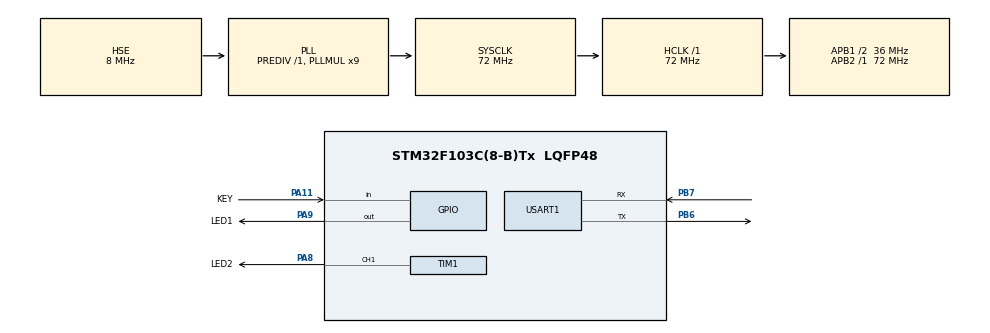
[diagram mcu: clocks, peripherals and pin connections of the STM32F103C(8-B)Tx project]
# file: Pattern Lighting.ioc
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Dma.Request0=USART1_RX
Dma.Request1=USART1_TX
Dma.USART1_RX.0.Direction=DMA_PERIPH_TO_MEMORY
Dma.USART1_RX.0.Instance=DMA1_Channel5
Dma.USART1_RX.0.MemDataAlignment=DMA_MDATAALIGN_BYTE
Dma.USART1_RX.0.MemInc=DMA_MINC_ENABLE
Dma.USART1_RX.0.Mode=DMA_CIRCULAR
Dma.USART1_RX.0.PeriphDataAlignment=DMA_PDATAALIGN_BYTE
Dma.USART1_RX.0.PeriphInc=DMA_PINC_DISABLE
Dma.USART1_RX.0.Priority=DMA_PRIORITY_LOW
Dma.USART1_TX.1.Direction=DMA_MEMORY_TO_PERIPH
Dma.USART1_TX.1.Instance=DMA1_Channel4
Dma.USART1_TX.1.MemDataAlignment=DMA_MDATAALIGN_BYTE
Dma.USART1_TX.1.MemInc=DMA_MINC_ENABLE
Dma.USART1_TX.1.Mode=DMA_NORMAL
Dma.USART1_TX.1.PeriphDataAlignment=DMA_PDATAALIGN_BYTE
Dma.USART1_TX.1.PeriphInc=DMA_PINC_DISABLE
Dma.USART1_TX.1.Priority=DMA_PRIORITY_LOW
Mcu.Family=STM32F1
Mcu.Name=STM32F103C(8-B)Tx
Mcu.Package=LQFP48
NVIC.DMA1_Channel4_IRQn=true\:0\:0\:false\:false\:true\:false\:true\:true
NVIC.DMA1_Channel5_IRQn=true\:0\:0\:false\:false\:true\:false\:true\:true
NVIC.PriorityGroup=NVIC_PRIORITYGROUP_4
NVIC.USART1_IRQn=true\:0\:0\:false\:false\:true\:true\:true\:true
PA11.GPIO_Label=KEY
PA11.GPIO_PuPd=GPIO_PULLDOWN
PA11.Signal=GPIO_Input
PA13.Mode=Serial_Wire
PA13.Signal=SYS_JTMS-SWDIO
PA14.Mode=Serial_Wire
PA14.Signal=SYS_JTCK-SWCLK
PA8.GPIO_Label=LED2
PA8.Signal=S_TIM1_CH1
PA9.GPIO_Label=LED1
PA9.Signal=GPIO_Output
PB6.Mode=Asynchronous
PB6.Signal=USART1_TX
PB7.Mode=Asynchronous
PB7.Signal=USART1_RX
PD0-OSC_IN.Mode=HSE-External-Oscillator
PD0-OSC_IN.Signal=RCC_OSC_IN
PD1-OSC_OUT.Mode=HSE-External-Oscillator
PD1-OSC_OUT.Signal=RCC_OSC_OUT
ProjectManager.HeapSize=0x200
ProjectManager.StackSize=0x400
ProjectManager.TargetToolchain=MDK-ARM V5.32
RCC.AHBFreq_Value=72000000
RCC.APB1CLKDivider=RCC_HCLK_DIV2
RCC.APB1Freq_Value=36000000
RCC.APB1TimFreq_Value=72000000
RCC.APB2Freq_Value=72000000
RCC.APB2TimFreq_Value=72000000
RCC.HCLKFreq_Value=72000000
RCC.PLLMUL=RCC_PLL_MUL9
RCC.PLLSourceVirtual=RCC_PLLSOURCE_HSE
RCC.SYSCLKFreq_VALUE=72000000
RCC.SYSCLKSource=RCC_SYSCLKSOURCE_PLLCLK
RCC.USBFreq_Value=72000000
SH.S_TIM1_CH1.0=TIM1_CH1,PWM Generation1 CH1
TIM1.Channel-PWM\ Generation1\ CH1=TIM_CHANNEL_1
TIM1.Period=500-1
TIM1.Prescaler=72-1
USART1.VirtualMode=VM_ASYNC
board=custom

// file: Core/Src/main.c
/* USER CODE BEGIN Header */
/**
  ******************************************************************************
  * @file           : main.c
  * @brief          : Main program body
  ******************************************************************************
  * @attention
  *
  * Copyright (c) 2026 STMicroelectronics.
  * All rights reserved.
  *
  * This software is licensed under terms that can be found in the LICENSE file
  * in the root directory of this software component.
  * If no LICENSE file comes with this software, it is provided AS-IS.
  *
  ******************************************************************************
  */
/* USER CODE END Header */
#include "main.h"
#include "dma.h"
#include "tim.h"
#include "usart.h"
#include "gpio.h"

/* USER CODE BEGIN Includes */
#include "ex_message.h"
#include "time_slice.h"

/* USER CODE END Includes */

/* USER CODE BEGIN PV */
uint8_t system_flag = 0;
/* USER CODE END PV */

void SystemClock_Config(void);

int main(void)
{

  /* USER CODE BEGIN 1 */
  time_slice Breathing_light_time_slice;
  time_slice Key_time_slice;
  time_slice LED1_toggle_time_slice;
  time_slice Rx_UART_time_slice;

  /* USER CODE END 1 */

  /* MCU Configuration--------------------------------------------------------*/

  /* Reset of all peripherals, Initializes the Flash interface and the Systick. */
  HAL_Init();

  /* Configure the system clock */
  SystemClock_Config();

  /* Initialize all configured peripherals */
  MX_GPIO_Init();
  MX_DMA_Init();
  MX_USART1_UART_Init();
  MX_TIM1_Init();
  /* USER CODE BEGIN 2 */
  time_slice_Init(&Breathing_light_time_slice, 1, Breathing_light);
  time_slice_Init(&Key_time_slice, 20, KEY_callback);
  time_slice_Init(&LED1_toggle_time_slice, 50, LED1_toggle);
  time_slice_Init(&Rx_UART_time_slice, 10, Rx_UART_callback);
  HAL_UARTEx_ReceiveToIdle_DMA(&huart1, rx_buf, sizeof(rx_buf));
  HAL_TIM_PWM_Start(&htim1, TIM_CHANNEL_1);
  /* USER CODE END 2 */

  /* Infinite loop */
  /* USER CODE BEGIN WHILE */
  while (1)
  {
    time_slice_run(&Rx_UART_time_slice);
    time_slice_run(&Key_time_slice);
    time_slice_run(&Breathing_light_time_slice);
    time_slice_run(&LED1_toggle_time_slice);
    /* USER CODE END WHILE */

  }
}

void SystemClock_Config(void)
{
  RCC_OscInitTypeDef RCC_OscInitStruct = {0};
  RCC_ClkInitTypeDef RCC_ClkInitStruct = {0};

  /** Initializes the RCC Oscillators according to the specified parameters
  * in the RCC_OscInitTypeDef structure.
  */
  RCC_OscInitStruct.OscillatorType = RCC_OSCILLATORTYPE_HSE;
  RCC_OscInitStruct.HSEState = RCC_HSE_ON;
  RCC_OscInitStruct.HSEPredivValue = RCC_HSE_PREDIV_DIV1;
  RCC_OscInitStruct.HSIState = RCC_HSI_ON;
  RCC_OscInitStruct.PLL.PLLState = RCC_PLL_ON;
  RCC_OscInitStruct.PLL.PLLSource = RCC_PLLSOURCE_HSE;
  RCC_OscInitStruct.PLL.PLLMUL = RCC_PLL_MUL9;
  if (HAL_RCC_OscConfig(&RCC_OscInitStruct) != HAL_OK)
  {
    Error_Handler();
  }

  /** Initializes the CPU, AHB and APB buses clocks
  */
  RCC_ClkInitStruct.ClockType = RCC_CLOCKTYPE_HCLK|RCC_CLOCKTYPE_SYSCLK
                              |RCC_CLOCKTYPE_PCLK1|RCC_CLOCKTYPE_PCLK2;
  RCC_ClkInitStruct.SYSCLKSource = RCC_SYSCLKSOURCE_PLLCLK;
  RCC_ClkInitStruct.AHBCLKDivider = RCC_SYSCLK_DIV1;
  RCC_ClkInitStruct.APB1CLKDivider = RCC_HCLK_DIV2;
  RCC_ClkInitStruct.APB2CLKDivider = RCC_HCLK_DIV1;

  if (HAL_RCC_ClockConfig(&RCC_ClkInitStruct, FLASH_LATENCY_2) != HAL_OK)
  {
    Error_Handler();
  }
}

/* USER CODE BEGIN 4 */
void HAL_UARTEx_RxEventCallback(UART_HandleTypeDef *huart, uint16_t Size)
{
    if(huart->Instance == USART1){
      command_flag = 1; //接收到指令

    }
}
/* USER CODE END 4 */

void Error_Handler(void)
{
  __disable_irq();
  while (1)
  {
  }
}
